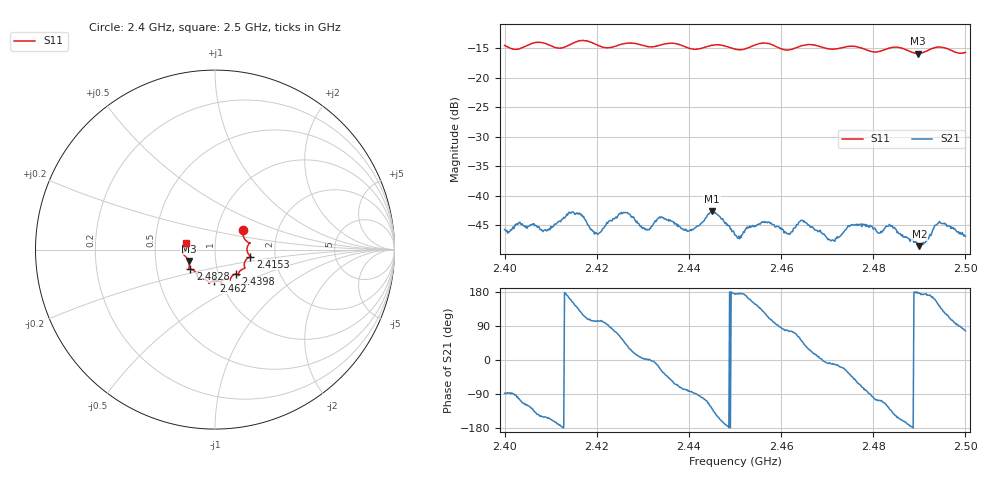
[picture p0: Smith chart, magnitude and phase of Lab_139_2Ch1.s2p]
# Hz S RI R 50
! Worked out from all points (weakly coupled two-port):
!   601 points, 2.4 GHz to 2.5 GHz, reference 50 ohm
!   highest |S21| = -42.69 dB at 2.445 GHz (marker M1); lowest = -48.6 dB at 2.49 GHz (marker M2)
!   lowest |S11| = -15.9 dB at 2.4897 GHz (marker M3), VSWR 1.38, Z = 36.9 - j4.81 ohm
!   |S11| at or under -10 dB: start of sweep to end of sweep
!   S12 and S22 are empty: the file has one direction only
!   S11 on the Smith chart (normalised r, x): 2.4 GHz: 1.33, +0.29; 2.4153 GHz: 1.48, -0.12; 2.4398 GHz: 1.21, -0.34; 2.462 GHz: 0.93, -0.33; 2.4828 GHz: 0.74, -0.17; 2.5 GHz: 0.72, +0.06
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2.4e9  0.1548 0.1066  0.000155 -0.00516  0 0  0 0
2.409333e9  0.1895 0.0322  -0.0046 -0.0023  0 0  0 0
2.415333e9  0.1966 -0.0386  -0.00554 0.00415  0 0  0 0
2.416667e9  0.2025 -0.0428  -0.00386 0.00553  0 0  0 0
2.42e9  0.1848 -0.0458  -0.000984 0.00466  0 0  0 0
2.4255e9  0.1658 -0.099  0.00397 0.0058  0 0  0 0
2.430833e9  0.145 -0.1138  0.0051 0.000195  0 0  0 0
2.433333e9  0.1311 -0.1336  0.00619 -0.00171  0 0  0 0
2.439833e9  0.1156 -0.1365  0.000685 -0.00497  0 0  0 0
2.445e9  0.0842 -0.1686  -0.00457 -0.00574  0 0  0 0
2.45e9  0.065 -0.1625  -0.00459 0.000544  0 0  0 0
2.456333e9  0.0388 -0.1932  -0.00338 0.00486  0 0  0 0
2.462e9  -0.00529 -0.1731  0.00113 0.00462  0 0  0 0
2.466667e9  -0.0342 -0.1877  0.005 0.002  0 0  0 0
2.471167e9  -0.0602 -0.1643  0.00415 -0.000675  0 0  0 0
2.475e9  -0.0921 -0.1602  0.00432 -0.00351  0 0  0 0
2.482833e9  -0.1365 -0.1094  -0.0026 -0.00487  0 0  0 0
2.483333e9  -0.1403 -0.1092  -0.00319 -0.00448  0 0  0 0
2.489667e9  -0.1474 -0.0636  -0.00386 0.000222  0 0  0 0
2.49e9  -0.1495 -0.0589  -0.00371 0.000259  0 0  0 0
2.494333e9  -0.1808 -0.0216  -0.00484 0.00362  0 0  0 0
2.5e9  -0.1594 0.0391  0.00105 0.0044  0 0  0 0
